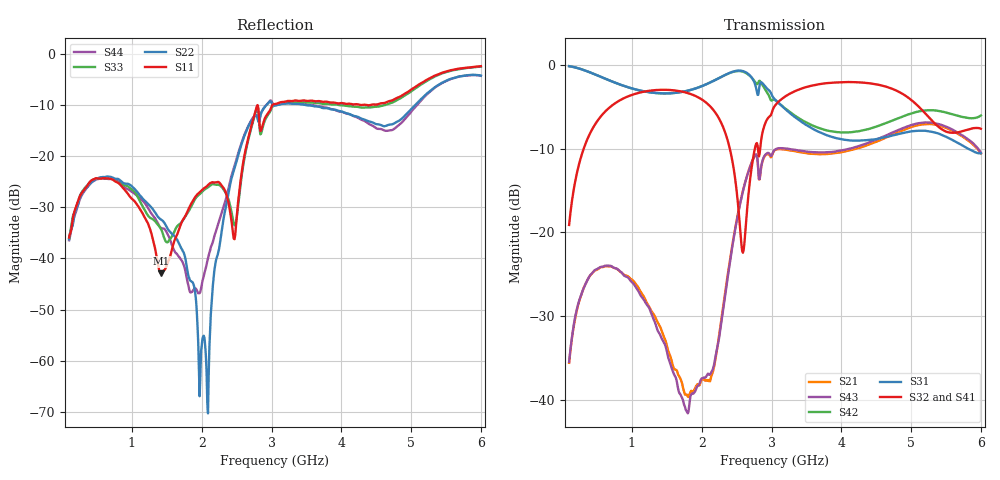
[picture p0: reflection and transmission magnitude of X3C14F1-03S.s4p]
# MHZ S DB R 50
! S-Parameters data
! Freq  reS11  imS11  reS12  imS12  reS13  imS13  reS14  imS14
!  reS21  imS21  reS22  imS22  reS23  imS23  reS24  imS24
!  reS31  imS31  reS32  imS32  reS33  imS33  reS34  imS34
!  reS41  imS41  reS42  imS42  reS43  imS43  reS44  imS44
!Freq  dBS11  angS11  dBS12  angS12  dBS13  angS13  dBS14  angS14
!  dBS21  angS21  dBS22  angS22  dBS23  angS23  dBS24  angS24
!  dBS31  angS31  dBS32  angS32  dBS33  angS33  dBS34  angS34
!  dBS41  angS41  dBS42  angS42  dBS43  angS43  dBS44  angS44
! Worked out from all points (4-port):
!   591 points, 100 MHz to 6 GHz, reference 50 ohm
!   strongest paths, dB at 100 MHz, 1.57 GHz, 3.05 GHz, 4.53 GHz, 6 GHz:
!     S32: -19.1, -3.0, -4.8, -2.3, -7.6
!     S41: -19.1, -3.0, -4.9, -2.3, -7.8
!     S31: -0.1, -3.3, -4.1, -8.8, -10.5
!     S42: -0.1, -3.3, -4.1, -7.2, -6.0
!     S43: -35.5, -36.3, -10.1, -8.8, -10.5
!     S21: -35.6, -35.4, -10.1, -9.0, -10.5
!   lowest |S11| = -42.9 dB at 1.42 GHz (marker M1), VSWR 1.01, Z = 50.1 + j0.714 ohm
!   |S11| at or under -10 dB: start of sweep to 3.014 GHz; 4.28969 GHz to 4.290125 GHz (434.3 kHz wide, 0.0101 % of centre); 4.363 GHz to 4.418 GHz (54.45 MHz wide, 1.24 % of centre)
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100  -35.91 -105.0  -35.53 78.8  -0.10 -10.1  -19.11 78.8
     -35.60 78.7  -36.25 -96.9  -19.10 78.9  -0.09 -10.2
     -0.09 -10.1  -19.10 78.9  -36.05 -101.2  -35.49 78.9
     -19.10 78.8  -0.08 -10.2  -35.49 78.8  -36.45 -97.1
1420  -42.88 83.8  -31.81 -52.2  -3.35 -104.0  -2.93 -14.6
      -31.63 -52.0  -32.40 118.2  -2.92 -13.9  -3.35 -104.7
      -3.34 -104.1  -2.91 -13.9  -34.35 87.4  -32.53 -53.1
      -2.91 -14.7  -3.34 -104.7  -32.58 -52.6  -34.07 135.4
2080  -25.81 -68.2  -38.17 45.4  -2.22 -145.8  -4.60 -55.5
      -37.75 44.2  -68.16 -22.2  -4.58 -53.8  -2.19 -146.7
      -2.20 -146.0  -4.57 -53.9  -26.18 -56.1  -37.20 45.8
      -4.58 -55.6  -2.19 -146.7  -37.04 47.1  -40.56 -157.5
2470  -36.23 156.6  -19.98 87.4  -0.71 174.5  -13.21 -88.8
      -19.96 87.1  -22.40 94.6  -13.03 -82.8  -0.73 173.6
      -0.69 174.2  -13.02 -82.9  -33.51 168.7  -20.09 88.6
      -13.19 -89.0  -0.72 173.6  -20.07 88.6  -21.92 98.7
2750  -12.27 9.1  -11.00 22.3  -1.96 133.5  -10.68 18.4
      -10.99 22.1  -12.32 15.7  -10.43 14.8  -1.80 135.8
      -1.94 133.3  -10.43 14.7  -12.49 9.3  -10.95 23.1
      -10.66 18.3  -1.80 135.8  -10.97 23.2  -12.23 18.5
4880  -8.03 -107.4  -7.75 173.8  -8.12 -10.8  -3.46 -98.5
      -7.76 173.5  -12.51 -105.2  -3.41 -97.2  -6.11 -3.8
      -8.09 -11.3  -3.41 -97.3  -8.40 -110.7  -7.50 171.4
      -3.43 -99.0  -6.10 -3.7  -7.51 171.7  -13.24 -105.8
6000  -2.41 -162.6  -10.57 61.8  -10.54 -107.0  -7.81 -102.7
      -10.53 61.4  -4.27 -168.0  -7.59 -100.4  -5.99 -106.8
      -10.52 -107.7  -7.58 -100.7  -2.48 -165.4  -10.49 57.3
      -7.78 -103.0  -5.99 -106.6  -10.46 57.8  -4.31 -174.9
